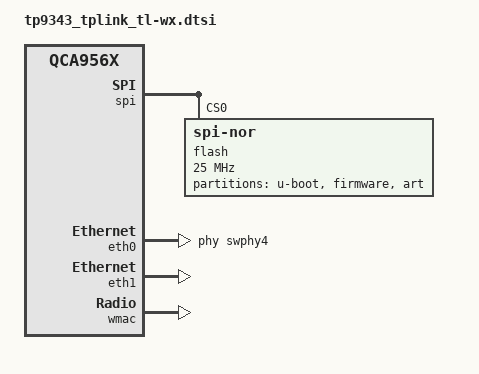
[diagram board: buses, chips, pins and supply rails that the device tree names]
// SPDX-License-Identifier: GPL-2.0-or-later OR MIT

#include "qca956x.dtsi"

#include <dt-bindings/gpio/gpio.h>
#include <dt-bindings/input/input.h>

/ {
	aliases {
		label-mac-device = &wmac;
	};
};

&spi {
	status = "okay";

	flash@0 {
		compatible = "jedec,spi-nor";
		reg = <0>;
		spi-max-frequency = <25000000>;

		partitions {
			compatible = "fixed-partitions";
			#address-cells = <1>;
			#size-cells = <1>;

			uboot: partition@0 {
				label = "u-boot";
				reg = <0x000000 0x020000>;
				read-only;
			};

			partition@20000 {
				compatible = "tplink,firmware";
				label = "firmware";
				reg = <0x020000 0x3d0000>;
			};

			art: partition@3f0000 {
				label = "art";
				reg = <0x3f0000 0x010000>;
				read-only;
			};
		};
	};
};

&eth0 {
	status = "okay";

	phy-handle = <&swphy4>;

	nvmem-cells = <&macaddr_uboot_1fc00>;
	nvmem-cell-names = "mac-address";
	mac-address-increment = <1>;
};

&eth1 {
	status = "okay";
};

&wmac {
	status = "okay";

	mtd-cal-data = <&art 0x1000>;
	nvmem-cells = <&macaddr_uboot_1fc00>;
	nvmem-cell-names = "mac-address";
};

&uboot {
	compatible = "nvmem-cells";
	#address-cells = <1>;
	#size-cells = <1>;

	macaddr_uboot_1fc00: macaddr@1fc00 {
		reg = <0x1fc00 0x6>;
	};
};
